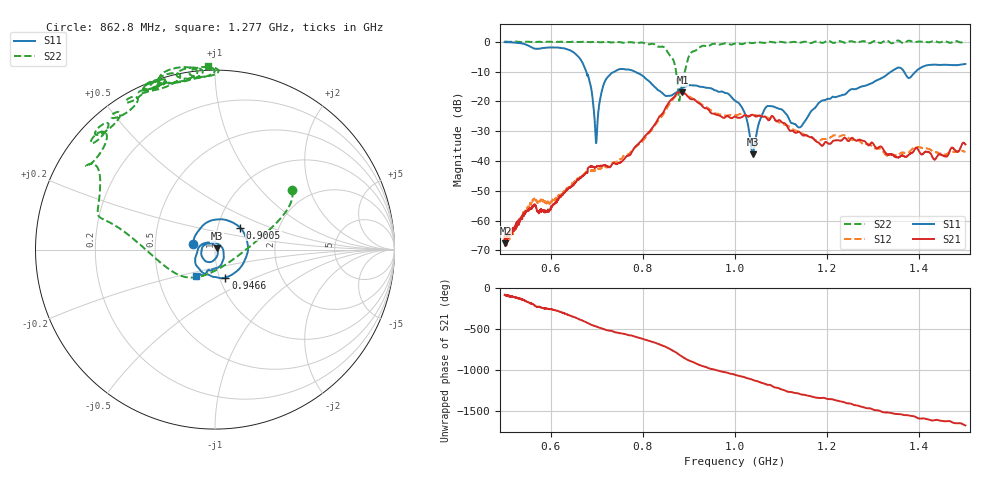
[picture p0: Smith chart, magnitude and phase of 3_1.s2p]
!Agilent Technologies,E8364B,US42250235,A.06.04.32
!Agilent E8364B: A.06.04.32
!Date: Thursday, October 01, 2020 15:53:08
!Correction: S11(Full 2 Port(1,2)) S21(Full 2 Port(1,2)) S12(Full 2 Port(1,2)) S22(Full 2 Port(1,2))
!S2P File: Measurements: S11, S21, S12, S22:
# Hz S  dB  R 50
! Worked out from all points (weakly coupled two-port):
!   2650 points, 500 MHz to 1.5 GHz, reference 50 ohm
!   highest |S21| = -16.91 dB at 885.8 MHz (marker M1); lowest = -67.7 dB at 501.9 MHz (marker M2)
!   lowest |S11| = -37.7 dB at 1.038 GHz (marker M3), VSWR 1.03, Z = 51 + j0.803 ohm
!   |S11| at or under -10 dB: 677.1 MHz to 738.4 MHz (61.32 MHz wide, 8.66 % of centre); 782.4 MHz to 1.339 GHz (557 MHz wide, 52.5 % of centre); 1.367 GHz to 1.392 GHz (25.52 MHz wide, 1.85 % of centre)
!   |S22| runs from -19.8 to 0.4 dB; largest |S21 - S12| = 0.019
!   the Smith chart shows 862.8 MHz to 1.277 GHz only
!   S11 on the Smith chart (normalised r, x): 862.8 MHz: 0.78, +0.05; 900.5 MHz: 1.28, +0.32; 946.6 MHz: 1.07, -0.34; 1.277 GHz: 0.78, -0.23
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5e8  -0.15 -175.2  -66.51 -84.0  -66.38 -77.9  0.06 142.4
5.018875e8  -0.16 -176.2  -67.66 -87.1  -66.78 -81.9  0.05 143.1
5.622877e8  -2.19 146.3  -55.06 159.8  -53.10 166.0  -0.14 133.7
6.238203e8  -2.08 105.3  -51.50 63.7  -51.12 50.2  -0.02 130.8
6.668554e8  -6.45 37.7  -45.29 -31.5  -45.09 -39.4  -0.04 124.5
6.985655e8  -34.05 -103.7  -41.99 -108.7  -42.94 -113.2  0.00 121.2
7.14043e8  -14.77 143.2  -41.47 -139.0  -41.93 -143.9  -0.13 113.6
7.355606e8  -10.28 103.3  -40.70 -170.1  -40.53 -178.8  -0.23 113.3
7.876557e8  -10.46 20.2  -34.65 118.3  -34.88 101.7  -0.41 107.0
8.337108e8  -16.31 -84.3  -25.60 37.8  -26.41 24.3  -1.67 83.4
8.627784e8  -18.01 165.2  -19.24 -39.0  -19.82 -45.2  -5.30 37.5
8.85806e8  -15.50 86.7  -16.91 -119.8  -17.23 -124.2  -12.97 -137.0
9.005285e8  -14.62 41.1  -18.85 -166.9  -18.42 -170.1  -4.64 166.0
9.465836e8  -15.59 -69.6  -23.67 93.0  -22.91 90.2  -1.12 133.3
1.000189e9  -19.81 -169.2  -25.15 18.2  -24.69 14.5  -0.59 124.9
1.038316e9  -37.73 37.3  -24.52 -43.1  -24.61 -47.3  -0.47 117.7
1.069649e9  -21.65 -127.5  -25.87 -102.4  -25.41 -103.1  -0.25 108.2
1.139109e9  -28.76 60.7  -30.20 146.9  -30.15 155.5  -0.33 109.0
1.166667e9  -23.07 -47.2  -32.00 112.9  -32.21 123.8  -0.41 104.2
1.276519e9  -14.95 -126.0  -33.22 -13.9  -34.23 -7.0  0.19 92.2
1.333522e9  -10.60 -143.3  -37.85 -83.0  -38.28 -59.4  0.11 98.2
1.5e9  -7.48 141.3  -34.43 118.8  -36.96 110.8  0.30 69.5
